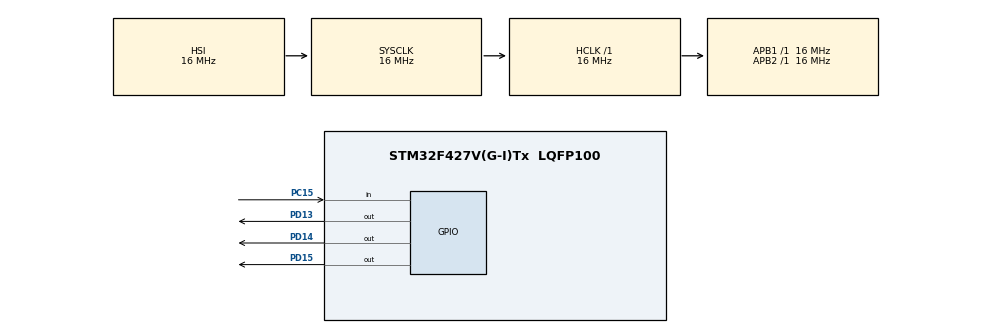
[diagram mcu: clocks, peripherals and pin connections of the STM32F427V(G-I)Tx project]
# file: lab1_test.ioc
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Mcu.Family=STM32F4
Mcu.Name=STM32F427V(G-I)Tx
Mcu.Package=LQFP100
NVIC.PriorityGroup=NVIC_PRIORITYGROUP_4
PA13.Mode=JTAG_5_pins
PA13.Signal=SYS_JTMS-SWDIO
PA14.Mode=JTAG_5_pins
PA14.Signal=SYS_JTCK-SWCLK
PA15.Mode=JTAG_5_pins
PA15.Signal=SYS_JTDI
PB3.Mode=JTAG_5_pins
PB3.Signal=SYS_JTDO-SWO
PB4.Mode=JTAG_5_pins
PB4.Signal=SYS_JTRST
PC15/OSC32_OUT.Signal=GPIO_Input
PD13.Signal=GPIO_Output
PD14.Signal=GPIO_Output
PD15.Signal=GPIO_Output
ProjectManager.HeapSize=0x200
ProjectManager.StackSize=0x400
ProjectManager.TargetToolchain=STM32CubeIDE
RCC.AHBFreq_Value=16000000
RCC.APB1Freq_Value=16000000
RCC.APB2Freq_Value=16000000
RCC.CortexFreq_Value=16000000
RCC.HSE_VALUE=25000000
RCC.HSI_VALUE=16000000
RCC.LSE_VALUE=32768
RCC.SYSCLKFreq_VALUE=16000000
RCC.VCOOutputFreq_Value=192000000
board=custom

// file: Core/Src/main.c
/* USER CODE BEGIN Header */
/**
 ******************************************************************************
 * @file           : main.c
 * @brief          : Main program body
 ******************************************************************************
 * @attention
 *
 * <h2><center>&copy; Copyright (c) 2023 STMicroelectronics.
 * All rights reserved.</center></h2>
 *
 * This software component is licensed by ST under BSD 3-Clause license,
 * the "License"; You may not use this file except in compliance with the
 * License. You may obtain a copy of the License at:
 *                        opensource.org/licenses/BSD-3-Clause
 *
 ******************************************************************************
 */
/* USER CODE END Header */
#include "main.h"

void SystemClock_Config(void);
static void MX_GPIO_Init(void);

int main(void)
{
  /* USER CODE BEGIN 1 */
   void delay_analog(uint32_t duration)
  {
    uint32_t startTime = HAL_GetTick();
    while ((HAL_GetTick() - startTime) < duration)
    {
    }
  }
  void morse(const uint8_t *code_morse)
  {
    for (uint8_t i = 0; code_morse[i] != 2; i++)
    {
      if (code_morse[i])
      {
        HAL_GPIO_WritePin(GPIOD, GPIO_PIN_13, GPIO_PIN_SET);
        delay_analog(1000);
        HAL_GPIO_WritePin(GPIOD, GPIO_PIN_13, GPIO_PIN_RESET);
        delay_analog(1000);
      }
      else
      {
        HAL_GPIO_WritePin(GPIOD, GPIO_PIN_13, GPIO_PIN_SET);
        delay_analog(100);
        HAL_GPIO_WritePin(GPIOD, GPIO_PIN_13, GPIO_PIN_RESET);
        delay_analog(100);
      }
      delay_analog(2000);
    }
  }

  /* USER CODE END 1 */

  /* MCU Configuration--------------------------------------------------------*/

  /* Reset of all peripherals, Initializes the Flash interface and the Systick. */
  HAL_Init();

  /* Configure the system clock */
  SystemClock_Config();

  /* Initialize all configured peripherals */
  MX_GPIO_Init();
  /* USER CODE BEGIN 2 */
  uint8_t code_morse[50];
  uint8_t last_morse_index = 0;
  uint32_t duration = 10000;
  uint32_t log_pressed_time = 2000;
  uint32_t last_time_pressed = 0;
  _Bool pressed_flag = 0;
  _Bool long_pressed_flag = 0;
  /* USER CODE END 2 */

  /* Infinite loop */
  while (1)
  {

    uint32_t time_start = HAL_GetTick();
    while (HAL_GPIO_ReadPin(GPIOC, GPIO_PIN_15) == GPIO_PIN_RESET)
    {
      pressed_flag = 1;
      if (HAL_GetTick() - time_start > log_pressed_time)
      {
        long_pressed_flag = 1;
      }
    }
    if (pressed_flag)
    {
      code_morse[last_morse_index] = long_pressed_flag;
      if (long_pressed_flag)
      {
        HAL_GPIO_WritePin(GPIOD, GPIO_PIN_14, GPIO_PIN_SET);
        delay_analog(1000);
        HAL_GPIO_WritePin(GPIOD, GPIO_PIN_14, GPIO_PIN_RESET);
        delay_analog(1000);
      }
      else
      {
        HAL_GPIO_WritePin(GPIOD, GPIO_PIN_15, GPIO_PIN_SET);
        delay_analog(1000);
        HAL_GPIO_WritePin(GPIOD, GPIO_PIN_15, GPIO_PIN_RESET);
        delay_analog(1000);
      }
      last_morse_index++;
      last_time_pressed = time_start;
      pressed_flag = 0;
      long_pressed_flag = 0;
    }
    if (HAL_GPIO_ReadPin(GPIOC, GPIO_PIN_15) == GPIO_PIN_SET && HAL_GetTick() - last_time_pressed > duration)
    {
      if (last_morse_index > 0)
      {
        code_morse[last_morse_index] = 2;
        morse(code_morse);
        last_morse_index = 0;
      }
    }

  }
}

void SystemClock_Config(void)
{
  RCC_OscInitTypeDef RCC_OscInitStruct = {0};
  RCC_ClkInitTypeDef RCC_ClkInitStruct = {0};

  /** Configure the main internal regulator output voltage
   */
  __HAL_RCC_PWR_CLK_ENABLE();
  __HAL_PWR_VOLTAGESCALING_CONFIG(PWR_REGULATOR_VOLTAGE_SCALE3);
  /** Initializes the RCC Oscillators according to the specified parameters
   * in the RCC_OscInitTypeDef structure.
   */
  RCC_OscInitStruct.OscillatorType = RCC_OSCILLATORTYPE_HSI;
  RCC_OscInitStruct.HSIState = RCC_HSI_ON;
  RCC_OscInitStruct.HSICalibrationValue = RCC_HSICALIBRATION_DEFAULT;
  RCC_OscInitStruct.PLL.PLLState = RCC_PLL_NONE;
  if (HAL_RCC_OscConfig(&RCC_OscInitStruct) != HAL_OK)
  {
    Error_Handler();
  }
  /** Initializes the CPU, AHB and APB buses clocks
   */
  RCC_ClkInitStruct.ClockType = RCC_CLOCKTYPE_HCLK | RCC_CLOCKTYPE_SYSCLK | RCC_CLOCKTYPE_PCLK1 | RCC_CLOCKTYPE_PCLK2;
  RCC_ClkInitStruct.SYSCLKSource = RCC_SYSCLKSOURCE_HSI;
  RCC_ClkInitStruct.AHBCLKDivider = RCC_SYSCLK_DIV1;
  RCC_ClkInitStruct.APB1CLKDivider = RCC_HCLK_DIV1;
  RCC_ClkInitStruct.APB2CLKDivider = RCC_HCLK_DIV1;

  if (HAL_RCC_ClockConfig(&RCC_ClkInitStruct, FLASH_LATENCY_0) != HAL_OK)
  {
    Error_Handler();
  }
}

static void MX_GPIO_Init(void)
{
  GPIO_InitTypeDef GPIO_InitStruct = {0};

  /* GPIO Ports Clock Enable */
  __HAL_RCC_GPIOC_CLK_ENABLE();
  __HAL_RCC_GPIOD_CLK_ENABLE();
  __HAL_RCC_GPIOA_CLK_ENABLE();
  __HAL_RCC_GPIOB_CLK_ENABLE();

  /*Configure GPIO pin Output Level */
  HAL_GPIO_WritePin(GPIOD, GPIO_PIN_13 | GPIO_PIN_14 | GPIO_PIN_15, GPIO_PIN_RESET);

  /*Configure GPIO pin : PC15 */
  GPIO_InitStruct.Pin = GPIO_PIN_15;
  GPIO_InitStruct.Mode = GPIO_MODE_INPUT;
  GPIO_InitStruct.Pull = GPIO_NOPULL;
  HAL_GPIO_Init(GPIOC, &GPIO_InitStruct);

  /*Configure GPIO pins : PD13 PD14 PD15 */
  GPIO_InitStruct.Pin = GPIO_PIN_13 | GPIO_PIN_14 | GPIO_PIN_15;
  GPIO_InitStruct.Mode = GPIO_MODE_OUTPUT_PP;
  GPIO_InitStruct.Pull = GPIO_NOPULL;
  GPIO_InitStruct.Speed = GPIO_SPEED_FREQ_LOW;
  HAL_GPIO_Init(GPIOD, &GPIO_InitStruct);
}

void Error_Handler(void)
{
  __disable_irq();
  while (1)
  {
  }
}

/************************ (C) COPYRIGHT STMicroelectronics *****END OF FILE****/
